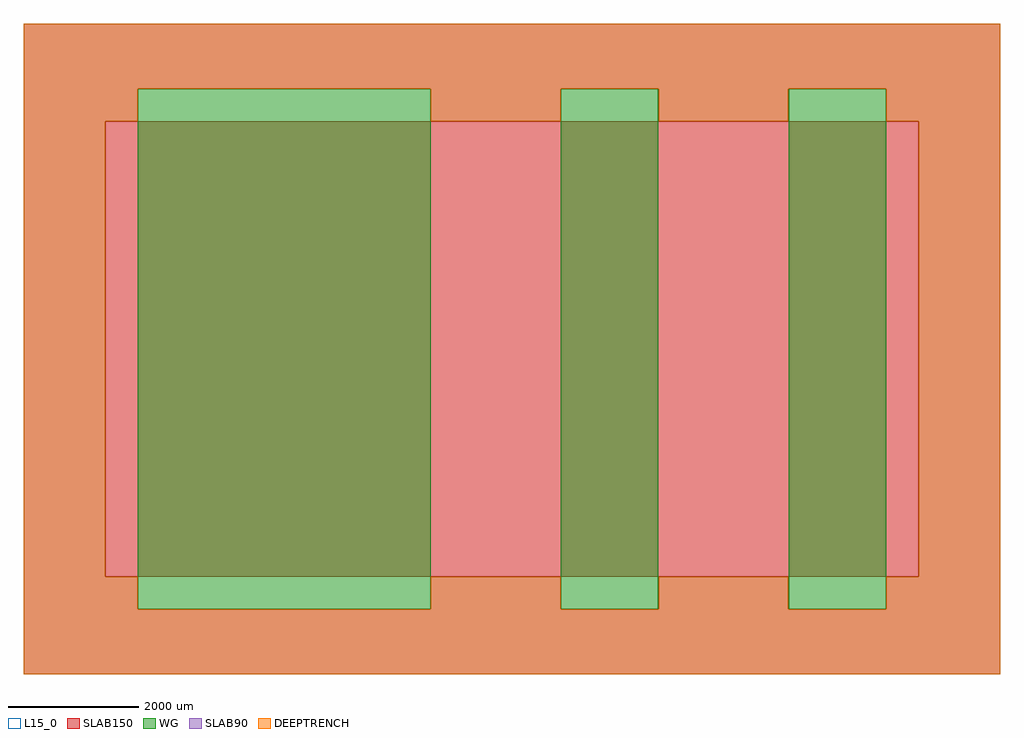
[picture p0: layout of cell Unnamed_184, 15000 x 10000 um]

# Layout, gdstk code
import gdstk
lib = gdstk.Library(unit=1e-6, precision=1e-09)
def R(c, l, rs):  # rectangles x0, y0, x1, y1
    for r in rs: c.add(gdstk.rectangle(r[:2], r[2:], *l))
def P(c, l, *ps):  # polygons
    for p in ps: c.add(gdstk.Polygon(p, *l))
WG = (1, 0)
SLAB150 = (2, 0)
SLAB90 = (3, 0)
DEEPTRENCH = (4, 0)
L15_0 = (15, 0)

rectangle_gdsfactorypco_ = lib.new_cell('rectangle_gdsfactorypco_689f7d17')
R(rectangle_gdsfactorypco_, L15_0, [(0,0,15000,10000)])

c_rectangle_gdsfactorypco_ = lib.new_cell('rectangle_gdsfactorypco_c0d9835b')
R(c_rectangle_gdsfactorypco_, WG, [(0,0,1500,8000)])

c_rectangle_gdsfactorypco__ = lib.new_cell('rectangle_gdsfactorypco_86c51bfc')
R(c_rectangle_gdsfactorypco__, SLAB150, [(0,0,12500,7000)])

c_rectangle_gdsfactorypco___ = lib.new_cell('rectangle_gdsfactorypco_41ccc8bb')
R(c_rectangle_gdsfactorypco___, WG, [(0,0,4500,8000)])

unnamed_184 = lib.new_cell('Unnamed_184')
P(unnamed_184, SLAB90, [(-1750,-1000),(-1750,8003),(9997,8003),(9997,7503),(8003,7503),(8003,8003),(6497,8003),(6497,7503),(4503,7503),(4503,8003),(-3,8003),(-3,7503),(-503,7503),(-503,497),(-3,497),(-3,-3),(4503,-3),(4503,497),(6497,497),(6497,-3),(8003,-3),(8003,497),(9997,497),(9997,-3),(11503,-3),(11503,497),(12003,497),(12003,7503),(11503,7503),(11503,8003),(-1750,8003),(-1750,9000),(13250,9000),(13250,-1000)])
P(unnamed_184, DEEPTRENCH, [(-1750,-1000),(-1750,8003),(9997,8003),(9997,7503),(8003,7503),(8003,8003),(6497,8003),(6497,7503),(4503,7503),(4503,8003),(-3,8003),(-3,7503),(-503,7503),(-503,497),(-3,497),(-3,-3),(4503,-3),(4503,497),(6497,497),(6497,-3),(8003,-3),(8003,497),(9997,497),(9997,-3),(11503,-3),(11503,497),(12003,497),(12003,7503),(11503,7503),(11503,8003),(-1750,8003),(-1750,9000),(13250,9000),(13250,-1000)])
unnamed_184.add(gdstk.Reference(rectangle_gdsfactorypco_, (-1750,-1000)))
unnamed_184.add(gdstk.Reference(c_rectangle_gdsfactorypco_, (6500,0)))
unnamed_184.add(gdstk.Reference(c_rectangle_gdsfactorypco_, (10000,0)))
unnamed_184.add(gdstk.Reference(c_rectangle_gdsfactorypco__, (-500,500)))
unnamed_184.add(gdstk.Reference(c_rectangle_gdsfactorypco___, (0,0)))

lib.write_gds('Unnamed_184.gds')
